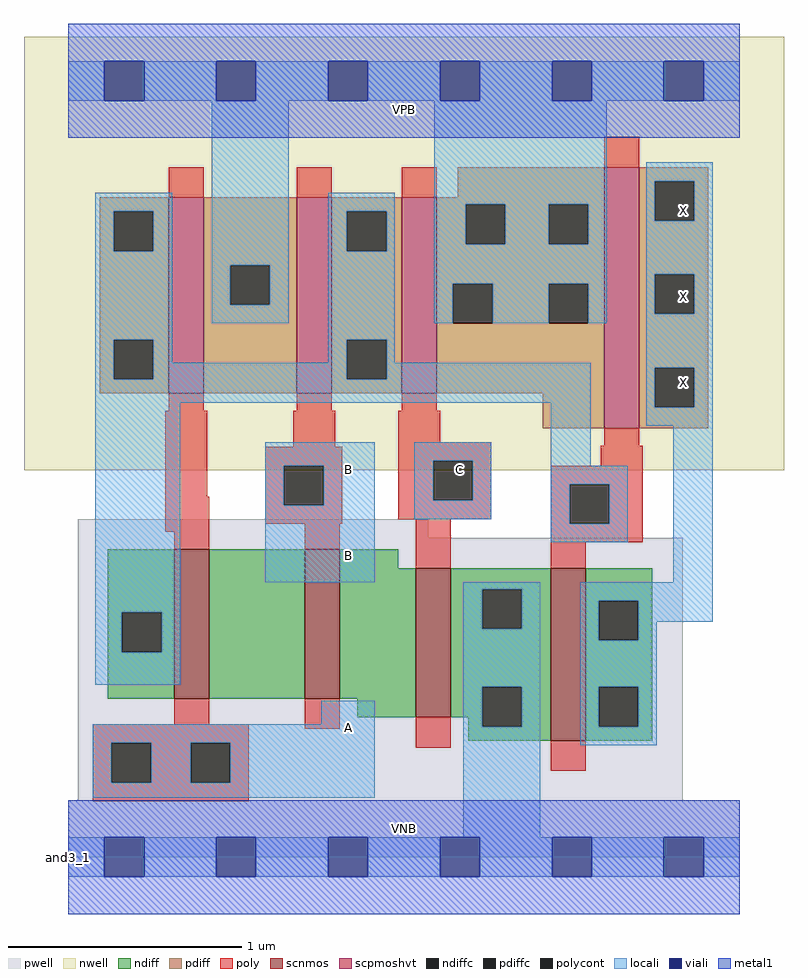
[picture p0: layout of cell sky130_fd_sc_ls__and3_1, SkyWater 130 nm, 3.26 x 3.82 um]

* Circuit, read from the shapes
.subckt sky130_fd_sc_ls__and3_1 A B C VGND VNB VPB VPWR X
XM1 n1 A n2 VNB sky130_fd_pr__nfet_01v8 w=0.64 l=0.15
XM2 n3 B n1 VNB sky130_fd_pr__nfet_01v8 w=0.64 l=0.15
XM3 VGND C n3 VNB sky130_fd_pr__nfet_01v8 w=0.64 l=0.15
XM4 X n2 VGND VNB sky130_fd_pr__nfet_01v8 w=0.74 l=0.15
XM5 VPWR A n2 VPB sky130_fd_pr__pfet_01v8_hvt w=0.84 l=0.15
XM6 n2 B VPWR VPB sky130_fd_pr__pfet_01v8_hvt w=0.84 l=0.15
XM7 VPWR C n2 VPB sky130_fd_pr__pfet_01v8_hvt w=0.84 l=0.15
XM8 X n2 VPWR VPB sky130_fd_pr__pfet_01v8_hvt w=1.12 l=0.15
.ends

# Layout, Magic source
magic
tech sky130A
magscale 1 2
<< nwell >>
rect -38 332 614 704
<< pwell >>
rect 8 274 309 290
rect 8 49 527 274
rect 0 0 576 49
<< scnmos >>
rect 91 136 121 264
rect 203 136 233 264
rect 298 120 328 248
rect 414 100 444 248
<< scpmoshvt >>
rect 86 398 116 566
rect 196 398 226 566
rect 286 398 316 566
rect 460 368 490 592
<< ndiff >>
rect 34 210 91 264
rect 34 176 46 210
rect 80 176 91 210
rect 34 136 91 176
rect 121 136 203 264
rect 233 248 283 264
rect 233 136 298 248
rect 248 120 298 136
rect 328 230 414 248
rect 328 196 355 230
rect 389 196 414 230
rect 328 146 414 196
rect 328 120 355 146
rect 343 112 355 120
rect 389 112 414 146
rect 343 100 414 112
rect 444 220 501 248
rect 444 186 455 220
rect 489 186 501 220
rect 444 146 501 186
rect 444 112 455 146
rect 489 112 501 146
rect 444 100 501 112
<< pdiff >>
rect 334 566 460 592
rect 27 554 86 566
rect 27 520 39 554
rect 73 520 86 554
rect 27 444 86 520
rect 27 410 39 444
rect 73 410 86 444
rect 27 398 86 410
rect 116 508 196 566
rect 116 474 139 508
rect 173 474 196 508
rect 116 398 196 474
rect 226 554 286 566
rect 226 520 239 554
rect 273 520 286 554
rect 226 444 286 520
rect 226 410 239 444
rect 273 410 286 444
rect 226 398 286 410
rect 316 560 460 566
rect 316 526 341 560
rect 375 526 412 560
rect 446 526 460 560
rect 316 492 460 526
rect 316 458 330 492
rect 364 458 412 492
rect 446 458 460 492
rect 316 398 460 458
rect 407 368 460 398
rect 490 580 549 592
rect 490 546 503 580
rect 537 546 549 580
rect 490 500 549 546
rect 490 466 503 500
rect 537 466 549 500
rect 490 420 549 466
rect 490 386 503 420
rect 537 386 549 420
rect 490 368 549 386
<< ndiffc >>
rect 46 176 80 210
rect 355 196 389 230
rect 355 112 389 146
rect 455 186 489 220
rect 455 112 489 146
<< pdiffc >>
rect 39 520 73 554
rect 39 410 73 444
rect 139 474 173 508
rect 239 520 273 554
rect 239 410 273 444
rect 341 526 375 560
rect 412 526 446 560
rect 330 458 364 492
rect 412 458 446 492
rect 503 546 537 580
rect 503 466 537 500
rect 503 386 537 420
<< poly >>
rect 460 592 490 618
rect 86 566 116 592
rect 196 566 226 592
rect 286 566 316 592
rect 86 383 116 398
rect 196 383 226 398
rect 286 383 316 398
rect 83 309 119 383
rect 193 352 229 383
rect 283 356 319 383
rect 169 336 235 352
rect 83 279 121 309
rect 169 302 185 336
rect 219 302 235 336
rect 169 286 235 302
rect 283 340 363 356
rect 460 353 490 368
rect 283 306 313 340
rect 347 306 363 340
rect 457 336 493 353
rect 283 290 363 306
rect 414 320 493 336
rect 91 264 121 279
rect 203 264 233 286
rect 298 248 328 290
rect 414 286 430 320
rect 464 286 493 320
rect 414 270 493 286
rect 414 248 444 270
rect 91 114 121 136
rect 21 98 155 114
rect 203 110 233 136
rect 21 64 37 98
rect 71 64 105 98
rect 139 64 155 98
rect 298 94 328 120
rect 414 74 444 100
rect 21 48 155 64
<< polycont >>
rect 185 302 219 336
rect 313 306 347 340
rect 430 286 464 320
rect 37 64 71 98
rect 105 64 139 98
<< locali >>
rect 0 649 31 683
rect 65 649 127 683
rect 161 649 223 683
rect 257 649 319 683
rect 353 649 415 683
rect 449 649 511 683
rect 545 649 576 683
rect 23 554 89 570
rect 23 520 39 554
rect 73 520 89 554
rect 23 444 89 520
rect 123 508 189 649
rect 123 474 139 508
rect 173 474 189 508
rect 123 458 189 474
rect 223 554 280 570
rect 223 520 239 554
rect 273 520 280 554
rect 23 410 39 444
rect 73 424 89 444
rect 223 444 280 520
rect 314 560 462 649
rect 314 526 341 560
rect 375 526 412 560
rect 446 526 462 560
rect 314 492 462 526
rect 314 458 330 492
rect 364 458 412 492
rect 446 458 462 492
rect 496 580 553 596
rect 496 546 503 580
rect 537 546 553 580
rect 496 500 553 546
rect 496 466 503 500
rect 537 466 553 500
rect 223 424 239 444
rect 73 410 239 424
rect 273 424 280 444
rect 273 410 448 424
rect 23 390 448 410
rect 23 210 96 390
rect 169 336 263 356
rect 169 302 185 336
rect 219 302 263 336
rect 169 236 263 302
rect 297 340 363 356
rect 297 306 313 340
rect 347 306 363 340
rect 297 290 363 306
rect 414 336 448 390
rect 496 420 553 466
rect 496 386 503 420
rect 537 386 553 420
rect 496 370 553 386
rect 414 320 480 336
rect 414 286 430 320
rect 464 286 480 320
rect 414 270 480 286
rect 519 236 553 370
rect 23 176 46 210
rect 80 176 96 210
rect 23 148 96 176
rect 339 230 405 236
rect 339 196 355 230
rect 389 196 405 230
rect 339 146 405 196
rect 217 114 263 134
rect 21 98 263 114
rect 21 64 37 98
rect 71 64 105 98
rect 139 64 263 98
rect 21 51 263 64
rect 339 112 355 146
rect 389 112 405 146
rect 339 17 405 112
rect 439 220 553 236
rect 439 186 455 220
rect 489 202 553 220
rect 489 186 505 202
rect 439 146 505 186
rect 439 112 455 146
rect 489 112 505 146
rect 439 96 505 112
rect 0 -17 31 17
rect 65 -17 127 17
rect 161 -17 223 17
rect 257 -17 319 17
rect 353 -17 415 17
rect 449 -17 511 17
rect 545 -17 576 17
<< viali >>
rect 31 649 65 683
rect 127 649 161 683
rect 223 649 257 683
rect 319 649 353 683
rect 415 649 449 683
rect 511 649 545 683
rect 31 -17 65 17
rect 127 -17 161 17
rect 223 -17 257 17
rect 319 -17 353 17
rect 415 -17 449 17
rect 511 -17 545 17
<< metal1 >>
rect 0 683 576 715
rect 0 649 31 683
rect 65 649 127 683
rect 161 649 223 683
rect 257 649 319 683
rect 353 649 415 683
rect 449 649 511 683
rect 545 649 576 683
rect 0 617 576 649
rect 0 17 576 49
rect 0 -17 31 17
rect 65 -17 127 17
rect 161 -17 223 17
rect 257 -17 319 17
rect 353 -17 415 17
rect 449 -17 511 17
rect 545 -17 576 17
rect 0 -49 576 -17
<< labels >>
rlabel comment s 0 0 0 0 4 and3_1
flabel pwell s 0 0 576 49 0 FreeSans 200 0 0 0 VNB
port 5 nsew ground bidirectional
flabel nwell s 0 617 576 666 0 FreeSans 200 0 0 0 VPB
port 6 nsew power bidirectional
flabel metal1 s 0 617 576 666 0 FreeSans 340 0 0 0 VPWR
port 7 nsew power bidirectional abutment
flabel metal1 s 0 0 576 49 0 FreeSans 340 0 0 0 VGND
port 4 nsew ground bidirectional abutment
flabel locali s 223 94 257 128 0 FreeSans 340 0 0 0 A
port 1 nsew signal input
flabel locali s 223 242 257 276 0 FreeSans 340 0 0 0 B
port 2 nsew signal input
flabel locali s 223 316 257 350 0 FreeSans 340 0 0 0 B
port 2 nsew signal input
flabel locali s 319 316 353 350 0 FreeSans 340 0 0 0 C
port 3 nsew signal input
flabel locali s 511 390 545 424 0 FreeSans 340 0 0 0 X
port 8 nsew signal output
flabel locali s 511 464 545 498 0 FreeSans 340 0 0 0 X
port 8 nsew signal output
flabel locali s 511 538 545 572 0 FreeSans 340 0 0 0 X
port 8 nsew signal output
<< properties >>
string LEFsite unit
string LEFclass CORE
string FIXED_BBOX 0 0 576 666
string GDS_FILE $PDKPATH/libs.ref/sky130_fd_sc_ls/gds/sky130_fd_sc_ls.gds
string LEFsymmetry X Y
string GDS_END 2980620
string GDS_START 2974654
<< end >>
